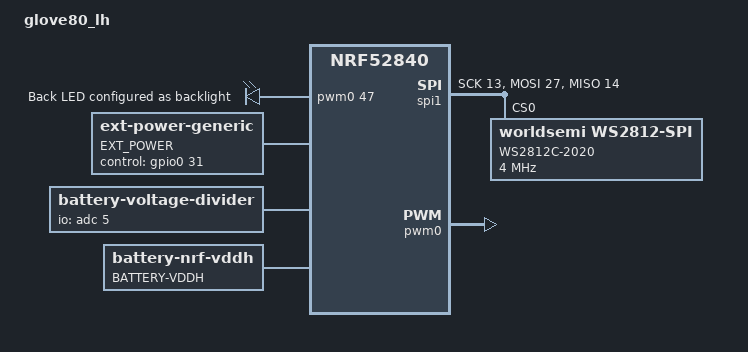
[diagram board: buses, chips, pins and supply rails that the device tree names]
/*
 * Copyright (c) 2021 The ZMK Contributors
 *
 * SPDX-License-Identifier: MIT
 */

/dts-v1/;
#include <nordic/nrf52840_qiaa.dtsi>
#include <dt-bindings/led/led.h>
#include "glove80.dtsi"

/ {
	model = "glove80_lh";
	compatible = "glove80_lh";

	chosen {
		zmk,underglow = &led_strip;
        zmk,backlight = &back_led_backlight;
		zmk,battery   = &vbatt;
	};

	back_led_backlight: pwmleds {
		compatible = "pwm-leds";
		label = "BACK LED";
		pwm_led_0 {
			pwms = <&pwm0 47>; 
			label = "Back LED configured as backlight";
		};
	};

	ext-power {
		compatible = "zmk,ext-power-generic";
		label = "EXT_POWER";
		control-gpios = <&gpio0 31 GPIO_ACTIVE_HIGH>; /* WS2812_CE */
		init-delay-ms = <100>;
	};

	vbatt: vbatt-divider {
		compatible = "zmk,battery-voltage-divider";
		label = "BATTERY";
		io-channels = <&adc 5>;
		output-ohms = <820000>; 
		full-ohms = <(1500000 + 820000)>;
	};

	vbatt-vddh {
		compatible = "zmk,battery-nrf-vddh";
		label = "BATTERY-VDDH";
	};
};

&spi1 {
	compatible = "nordic,nrf-spim";
	/* Cannot be used together with i2c0. */
	status = "okay";
	mosi-pin = <27>; /* WS2812_VEXT_DATA */
	// Unused pins, needed for SPI definition, but not used by the ws2812 driver itself.
	sck-pin = <13>; /* Must select a not connected pin */
	miso-pin = <14>; /* Must select a not connected pin */

	led_strip: ws2812@0 {
		compatible = "worldsemi,ws2812-spi";
		label = "WS2812C-2020";

		/* SPI */
		reg = <0>; /* ignored, but necessary for SPI bindings */
		spi-max-frequency = <4000000>;

		/* WS2812 */
		chain-length = <40>; /* 40 keys have underglow at the moment */
		spi-one-frame = <0x70>;
		spi-zero-frame = <0x40>;

		color-mapping = <LED_COLOR_ID_GREEN LED_COLOR_ID_RED LED_COLOR_ID_BLUE>;
	};
};

&pwm0 {
	status = "okay";
	ch0-pin = <47>; 
};


/* [SC] Pretty sure this is not required
&uart0 {
	compatible = "nordic,nrf-uarte";
	tx-pin = <6>;
	rx-pin = <8>;
};
*/

&kscan0 {
	row-gpios
		= <&gpio0 26 (GPIO_ACTIVE_HIGH | GPIO_PULL_DOWN)> // LH ROW1
		, <&gpio0 5 (GPIO_ACTIVE_HIGH | GPIO_PULL_DOWN)> // LH ROW2
		, <&gpio0 6 (GPIO_ACTIVE_HIGH | GPIO_PULL_DOWN)> // LH ROW3
		, <&gpio0 8 (GPIO_ACTIVE_HIGH | GPIO_PULL_DOWN)> // LH ROW4
		, <&gpio0 7 (GPIO_ACTIVE_HIGH | GPIO_PULL_DOWN)> // LH ROW5
		, <&gpio1 9 (GPIO_ACTIVE_HIGH | GPIO_PULL_DOWN)> // LH ROW6
		;
	col-gpios
		= <&gpio1 8 GPIO_ACTIVE_HIGH> // LH COL6
		, <&gpio1 4 GPIO_ACTIVE_HIGH> // LH COL5
		, <&gpio1 6 GPIO_ACTIVE_HIGH> // LH COL4
		, <&gpio1 7 GPIO_ACTIVE_HIGH> // LH COL3
		, <&gpio1 5 GPIO_ACTIVE_HIGH> // LH COL2
		, <&gpio1 3 GPIO_ACTIVE_HIGH> // LH COL1
		, <&gpio1 1 GPIO_ACTIVE_HIGH> // LH Thumb
		;
};

